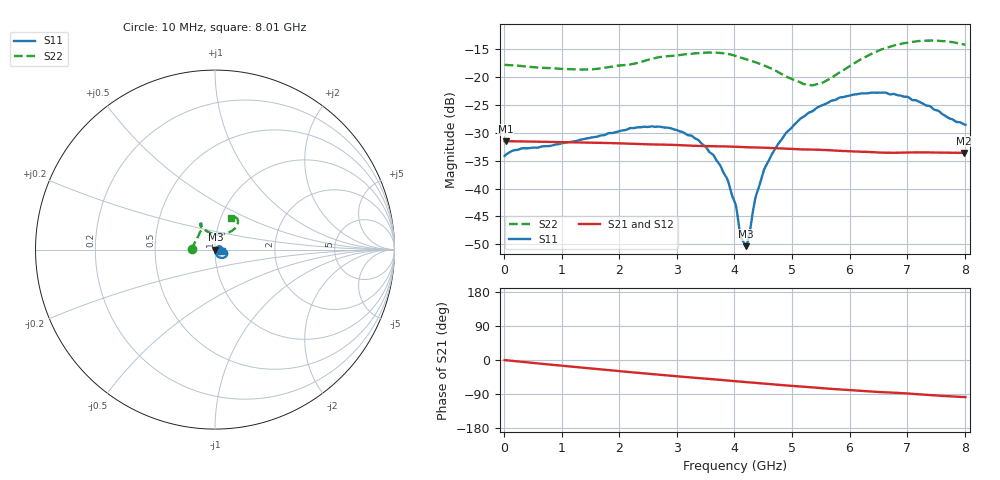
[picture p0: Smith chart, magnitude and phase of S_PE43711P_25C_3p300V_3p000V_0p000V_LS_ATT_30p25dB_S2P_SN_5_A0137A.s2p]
! Device ID: PE43711P
! File Path: z:\PE43711P\CHAR_NOM_04282014\AMB\3p300\LS_ATT_30p25dB\PE43711P_AMB_3p300V_3p000V_0p000V_LS_ATT_30p25dB_S2P_SN_5_A0137A.s2p
! Serial: 5
! Lot: A0137A
! Temp: 25C
! VDD: 3.300
! VSS: 0.000
! Control_Hi: 3.000
! Control_Lo: 0.000
! Attenuation Step: 30.25dB
! Port 1: RF1
! Port 2: RF2
! ThroughPath:1-2
! IDD: 0.0001278229
! ISS: -2.167e-007
#  Hz  S  RI  R  50
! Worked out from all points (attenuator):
!   801 points, 10 MHz to 8.01 GHz, reference 50 ohm
!   highest |S21| = -31.50 dB at 30 MHz (marker M1); lowest = -33.6 dB at 7.98 GHz (marker M2)
!   lowest |S11| = -50.3 dB at 4.2 GHz (marker M3), VSWR 1.01, Z = 50.3 - j0.124 ohm
!   |S11| at or under -10 dB: start of sweep to end of sweep
!   |S22| runs from -21.5 to -13.4 dB; largest |S21 - S12| = 0.0001
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1e7  0.0196 0.000555  0.0266 -0.00011  0.0266 -8.99e-05  -0.1294 0.000992
3e7  0.0201 0.000934  0.0266 -0.000215  0.0266 -0.000226  -0.1289 0.0021
1.35e9  0.0266 0.00715  0.0244 -0.00887  0.0244 -0.0089  -0.1018 0.0577
2.2e9  0.0326 0.0125  0.0214 -0.0135  0.0214 -0.0135  -0.0786 0.1039
2.68e9  0.0319 0.0167  0.0194 -0.0155  0.0195 -0.0155  -0.0749 0.1308
3.25e9  0.0235 0.0184  0.0168 -0.0175  0.0168 -0.0175  -0.0756 0.1434
3.49e9  0.0173 0.0166  0.0158 -0.0182  0.0158 -0.0182  -0.0787 0.146
3.76e9  0.0102 0.0122  0.0146 -0.019  0.0146 -0.019  -0.0819 0.1431
3.88e9  0.00748 0.00936  0.014 -0.0193  0.014 -0.0193  -0.0823 0.1391
4.01e9  0.00514 0.0054  0.0133 -0.0196  0.0133 -0.0197  -0.0812 0.1332
4.12e9  0.0034 0.00115  0.0128 -0.0199  0.0128 -0.0199  -0.0777 0.1275
4.2e9  0.00278 -0.00123  0.0123 -0.02  0.0123 -0.02  -0.0744 0.1244
4.25e9  0.00222 -0.00301  0.0121 -0.0201  0.0121 -0.0201  -0.0721 0.1227
4.38e9  0.00171 -0.00865  0.0115 -0.0204  0.0115 -0.0204  -0.0664 0.1178
4.55e9  0.00273 -0.0159  0.0106 -0.0207  0.0106 -0.0207  -0.0577 0.1111
4.9e9  0.00871 -0.0305  0.00887 -0.021  0.00886 -0.021  -0.0332 0.0956
5.35e9  0.0242 -0.043  0.00683 -0.0213  0.00685 -0.0213  0.00975 0.0839
5.84e9  0.0473 -0.0459  0.00452 -0.0213  0.00452 -0.0213  0.064 0.0912
6.68e9  0.0672 -0.0215  0.00158 -0.0209  0.00161 -0.0209  0.1239 0.1394
7.3e9  0.0566 -0.00436  -0.000547 -0.0211  -0.000507 -0.0211  0.1225 0.1742
7.98e9  0.0375 -0.00545  -0.0028 -0.0207  -0.00283 -0.0207  0.0912 0.1751
8.01e9  0.0368 -0.00649  -0.00286 -0.0207  -0.00295 -0.0207  0.0897 0.1738
